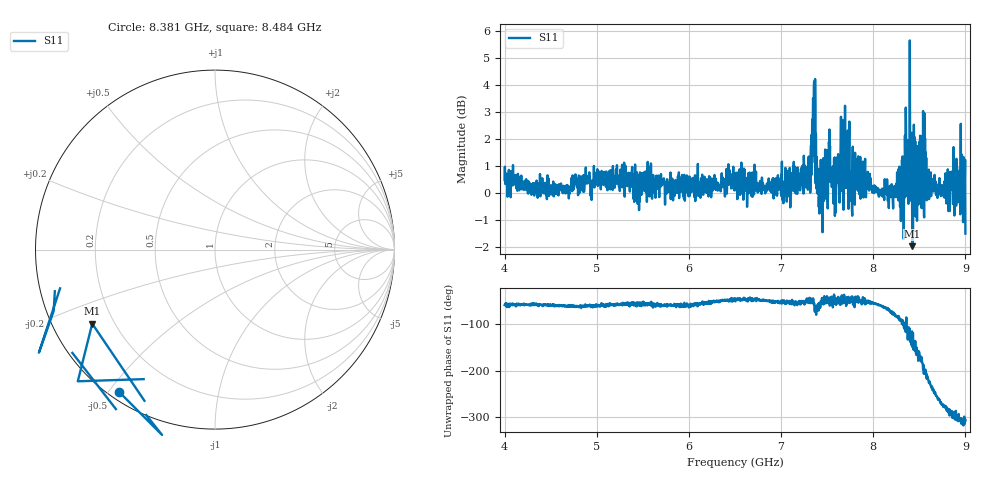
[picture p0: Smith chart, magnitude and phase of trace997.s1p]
! Created with skrf 1.8.0 (http://scikit-rf.org).
# Hz S RI R 50.0
!freq ReS11 ImS11
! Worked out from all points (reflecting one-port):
!   1601 points, 4 GHz to 9 GHz, reference 50 ohm
!   lowest |S11| = -2.0 dB at 8.425 GHz (marker M1), VSWR 8.94, Z = 6.02 - j13.7 ohm
!   phase of S11 starts at -58 deg and turns -248 deg over the sweep
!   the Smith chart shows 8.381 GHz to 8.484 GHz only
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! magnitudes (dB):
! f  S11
! 4 GHz  0.5
! 4.625 GHz  0.1
! 5.25 GHz  0.1
! 5.875 GHz  0.3
! 6.5 GHz  0.6
! 7.125 GHz  0.6
! 7.294 GHz  0.4
! 7.316 GHz  0.0
! 7.347 GHz  3.5
! 7.369 GHz  4.2
! 7.4 GHz  0.4
! 7.428 GHz  0.2
! 7.503 GHz  0.8
! 7.575 GHz  1.3
! 7.669 GHz  1.9
! 7.75 GHz  0.8
! 8.316 GHz  0.6
! 8.331 GHz  -1.7
! 8.375 GHz  2.0
! 8.425 GHz  -2.0
! 8.475 GHz  -1.0
! 8.522 GHz  1.1
! 8.603 GHz  0.9
! 8.706 GHz  0.2
! 8.841 GHz  0.7
! 8.956 GHz  0.8
! 8.972 GHz  0.8
! 9 GHz  -1.5
